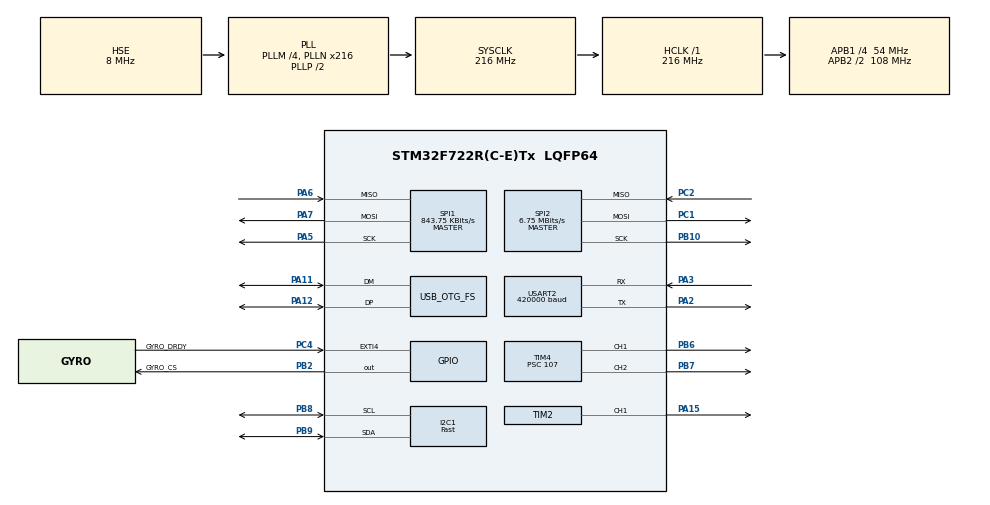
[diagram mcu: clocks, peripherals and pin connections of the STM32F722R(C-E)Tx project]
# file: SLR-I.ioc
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CORTEX_M7.Enable_Spec=__NULL
CORTEX_M7.MPU_Control=__NULL
CORTEX_M7.default_mode_Activation=1
Dma.Request0=SPI1_RX
Dma.Request1=SPI1_TX
Dma.Request2=USART2_RX
Dma.SPI1_RX.0.Direction=DMA_PERIPH_TO_MEMORY
Dma.SPI1_RX.0.FIFOMode=DMA_FIFOMODE_DISABLE
Dma.SPI1_RX.0.Instance=DMA2_Stream0
Dma.SPI1_RX.0.MemDataAlignment=DMA_MDATAALIGN_BYTE
Dma.SPI1_RX.0.MemInc=DMA_MINC_ENABLE
Dma.SPI1_RX.0.Mode=DMA_NORMAL
Dma.SPI1_RX.0.PeriphDataAlignment=DMA_PDATAALIGN_BYTE
Dma.SPI1_RX.0.PeriphInc=DMA_PINC_DISABLE
Dma.SPI1_RX.0.Priority=DMA_PRIORITY_HIGH
Dma.SPI1_TX.1.Direction=DMA_MEMORY_TO_PERIPH
Dma.SPI1_TX.1.FIFOMode=DMA_FIFOMODE_DISABLE
Dma.SPI1_TX.1.Instance=DMA2_Stream3
Dma.SPI1_TX.1.MemDataAlignment=DMA_MDATAALIGN_BYTE
Dma.SPI1_TX.1.MemInc=DMA_MINC_ENABLE
Dma.SPI1_TX.1.Mode=DMA_NORMAL
Dma.SPI1_TX.1.PeriphDataAlignment=DMA_PDATAALIGN_BYTE
Dma.SPI1_TX.1.PeriphInc=DMA_PINC_DISABLE
Dma.SPI1_TX.1.Priority=DMA_PRIORITY_HIGH
Dma.USART2_RX.2.Direction=DMA_PERIPH_TO_MEMORY
Dma.USART2_RX.2.FIFOMode=DMA_FIFOMODE_DISABLE
Dma.USART2_RX.2.Instance=DMA1_Stream5
Dma.USART2_RX.2.MemDataAlignment=DMA_MDATAALIGN_BYTE
Dma.USART2_RX.2.MemInc=DMA_MINC_ENABLE
Dma.USART2_RX.2.Mode=DMA_CIRCULAR
Dma.USART2_RX.2.PeriphDataAlignment=DMA_PDATAALIGN_BYTE
Dma.USART2_RX.2.PeriphInc=DMA_PINC_DISABLE
Dma.USART2_RX.2.Priority=DMA_PRIORITY_MEDIUM
I2C1.I2C_Speed_Mode=I2C_Fast
I2C1.Timing=0x6000030D
Mcu.Family=STM32F7
Mcu.Name=STM32F722R(C-E)Tx
Mcu.Package=LQFP64
NVIC.DMA1_Stream5_IRQn=true\:4\:0\:true\:false\:true\:false\:true\:true
NVIC.DMA2_Stream0_IRQn=true\:1\:0\:true\:false\:true\:false\:true\:true
NVIC.DMA2_Stream3_IRQn=true\:3\:0\:true\:false\:true\:false\:true\:true
NVIC.EXTI4_IRQn=true\:2\:0\:true\:false\:true\:true\:true\:true
NVIC.OTG_FS_IRQn=true\:6\:0\:true\:false\:true\:false\:true\:true
NVIC.PriorityGroup=NVIC_PRIORITYGROUP_4
NVIC.SPI1_IRQn=true\:3\:0\:true\:false\:true\:true\:true\:true
NVIC.TIM6_DAC_IRQn=true\:2\:0\:true\:false\:true\:true\:true\:true
NVIC.USART2_IRQn=true\:5\:0\:true\:false\:true\:true\:true\:true
PA11.Mode=Device_Only
PA11.Signal=USB_OTG_FS_DM
PA12.Mode=Device_Only
PA12.Signal=USB_OTG_FS_DP
PA13.Mode=Serial_Wire
PA13.Signal=SYS_JTMS-SWDIO
PA14.Mode=Serial_Wire
PA14.Signal=SYS_JTCK-SWCLK
PA15.GPIO_Speed=GPIO_SPEED_FREQ_VERY_HIGH
PA15.Signal=S_TIM2_CH1_ETR
PA2.Mode=Asynchronous
PA2.Signal=USART2_TX
PA3.Mode=Asynchronous
PA3.Signal=USART2_RX
PA5.Mode=Full_Duplex_Master
PA5.Signal=SPI1_SCK
PA6.Mode=Full_Duplex_Master
PA6.Signal=SPI1_MISO
PA7.Mode=Full_Duplex_Master
PA7.Signal=SPI1_MOSI
PB10.Mode=Full_Duplex_Master
PB10.Signal=SPI2_SCK
PB2.GPIO_Label=GYRO_CS
PB2.GPIO_Speed=GPIO_SPEED_FREQ_VERY_HIGH
PB2.PinState=GPIO_PIN_SET
PB2.Signal=GPIO_Output
PB6.GPIO_Speed=GPIO_SPEED_FREQ_HIGH
PB6.Signal=S_TIM4_CH1
PB7.GPIO_Speed=GPIO_SPEED_FREQ_HIGH
PB7.Signal=S_TIM4_CH2
PB8.Mode=I2C
PB8.Signal=I2C1_SCL
PB9.Mode=I2C
PB9.Signal=I2C1_SDA
PC1.Mode=Full_Duplex_Master
PC1.Signal=SPI2_MOSI
PC2.Mode=Full_Duplex_Master
PC2.Signal=SPI2_MISO
PC4.GPIO_Label=GYRO_DRDY
PC4.GPIO_ModeDefaultEXTI=GPIO_MODE_IT_FALLING
PC4.GPIO_PuPd=GPIO_PULLUP
PC4.Signal=GPXTI4
PH0-OSC_IN.Mode=HSE-External-Oscillator
PH0-OSC_IN.Signal=RCC_OSC_IN
PH1-OSC_OUT.Mode=HSE-External-Oscillator
PH1-OSC_OUT.Signal=RCC_OSC_OUT
ProjectManager.HeapSize=0x200
ProjectManager.StackSize=0x800
ProjectManager.TargetToolchain=STM32CubeIDE
RCC.AHBFreq_Value=216000000
RCC.APB1CLKDivider=RCC_HCLK_DIV4
RCC.APB1Freq_Value=54000000
RCC.APB1TimFreq_Value=108000000
RCC.APB2CLKDivider=RCC_HCLK_DIV2
RCC.APB2Freq_Value=108000000
RCC.APB2TimFreq_Value=216000000
RCC.CortexFreq_Value=216000000
RCC.HCLKFreq_Value=216000000
RCC.HSE_VALUE=8000000
RCC.HSI_VALUE=16000000
RCC.LSE_VALUE=32768
RCC.PLLM=4
RCC.PLLN=216
RCC.PLLQ=9
RCC.SYSCLKFreq_VALUE=216000000
RCC.SYSCLKSource=RCC_SYSCLKSOURCE_PLLCLK
RCC.USBFreq_Value=48000000
RCC.VCOOutputFreq_Value=432000000
SH.S_TIM2_CH1_ETR.0=TIM2_CH1,PWM Generation1 CH1
SH.S_TIM4_CH1.0=TIM4_CH1,PWM Generation1 CH1
SH.S_TIM4_CH2.0=TIM4_CH2,PWM Generation2 CH2
SPI1.BaudRatePrescaler=SPI_BAUDRATEPRESCALER_128
SPI1.CLKPhase=SPI_PHASE_1EDGE
SPI1.CLKPolarity=SPI_POLARITY_LOW
SPI1.CalculateBaudRate=843.75 KBits/s
SPI1.DataSize=SPI_DATASIZE_8BIT
SPI1.Direction=SPI_DIRECTION_2LINES
SPI1.Mode=SPI_MODE_MASTER
SPI1.VirtualType=VM_MASTER
SPI2.BaudRatePrescaler=SPI_BAUDRATEPRESCALER_8
SPI2.CalculateBaudRate=6.75 MBits/s
SPI2.DataSize=SPI_DATASIZE_8BIT
SPI2.Direction=SPI_DIRECTION_2LINES
SPI2.Mode=SPI_MODE_MASTER
SPI2.VirtualType=VM_MASTER
TIM2.AutoReloadPreload=TIM_AUTORELOAD_PRELOAD_ENABLE
TIM2.Channel-PWM\ Generation1\ CH1=TIM_CHANNEL_1
TIM2.Period=2499
TIM2.Prescaler=107
TIM4.AutoReloadPreload=TIM_AUTORELOAD_PRELOAD_ENABLE
TIM4.Channel-PWM\ Generation1\ CH1=TIM_CHANNEL_1
TIM4.Channel-PWM\ Generation2\ CH2=TIM_CHANNEL_2
TIM4.Period=19999
TIM4.Prescaler=107
TIM4.Pulse-PWM\ Generation1\ CH1=1500
TIM4.Pulse-PWM\ Generation2\ CH2=1500
TIM6.AutoReloadPreload=TIM_AUTORELOAD_PRELOAD_ENABLE
TIM6.Period=999
TIM6.Prescaler=107
USART2.BaudRate=420000
USART2.Mode=MODE_RX
USART2.StopBits=STOPBITS_1
USART2.VirtualMode-Asynchronous=VM_ASYNC
USB_DEVICE.CLASS_NAME_FS=CDC
USB_DEVICE.VirtualMode-CDC_FS=Cdc
USB_DEVICE.VirtualModeFS=Cdc_FS
USB_OTG_FS.VirtualMode=Device_Only
VP_TIM2_VS_ClockSourceINT.Mode=Internal
VP_TIM4_VS_ClockSourceINT.Mode=Internal
VP_TIM6_VS_ClockSourceINT.Mode=Enable_Timer
VP_USB_DEVICE_VS_USB_DEVICE_CDC_FS.Mode=CDC_FS
board=custom

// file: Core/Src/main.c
/* USER CODE BEGIN Header */
/**
  ******************************************************************************
  * @file           : main.c
  * @brief          : Main program body
  ******************************************************************************
  * @attention
  *
  * Copyright (c) 2026 STMicroelectronics.
  * All rights reserved.
  *
  * This software is licensed under terms that can be found in the LICENSE file
  * in the root directory of this software component.
  * If no LICENSE file comes with this software, it is provided AS-IS.
  *
  ******************************************************************************
  */
/* USER CODE END Header */
#include "main.h"
#include "dma.h"
#include "i2c.h"
#include "spi.h"
#include "tim.h"
#include "usart.h"
#include "usb_device.h"
#include "gpio.h"

/* USER CODE BEGIN Includes */
#include "usbd_cdc_if.h"
#include <math.h>
/* USER CODE END Includes */

/* USER CODE BEGIN PD */
#define GYRO_SPI_READ  0x80  // 1000 0000 (Sets MSB to 1)
#define GYRO_SPI_WRITE 0x7F  // 0111 1111 (Clears MSB to 0)
#define CRSF_BUF_SIZE 64
/* USER CODE END PD */

/* USER CODE BEGIN PV */
volatile uint8_t gyro_data_ready = 0;
volatile uint32_t now_cycles = 0;
uint32_t last_cycles = 0;

uint8_t crsf_rx_buf[CRSF_BUF_SIZE];
uint16_t crsf_channels[16];
volatile uint8_t crsf_frame_ready = 0;
/* USER CODE END PV */

void SystemClock_Config(void);

int main(void)
{

  /* USER CODE BEGIN 1 */
	  uint8_t tx_address;
	  uint8_t rx_response;
  /* USER CODE END 1 */

  /* MCU Configuration--------------------------------------------------------*/

  /* Reset of all peripherals, Initializes the Flash interface and the Systick. */
  HAL_Init();

  /* Configure the system clock */
  SystemClock_Config();

  /* Initialize all configured peripherals */
  MX_GPIO_Init();
  MX_DMA_Init();
  MX_I2C1_Init();
  MX_SPI1_Init();
  MX_SPI2_Init();
  MX_USART2_UART_Init();
  MX_TIM2_Init();
  MX_TIM4_Init();
  MX_TIM6_Init();
  MX_USB_DEVICE_Init();
  /* USER CODE BEGIN 2 */
  HAL_Delay(3000);
  CoreDebug->DEMCR |= CoreDebug_DEMCR_TRCENA_Msk;
  DWT->CYCCNT = 0;
  DWT->CTRL |= DWT_CTRL_CYCCNTENA_Msk;

  //receiver USART2 - start circular DMA + idle-line detection
  HAL_UARTEx_ReceiveToIdle_DMA(&huart2, crsf_rx_buf, CRSF_BUF_SIZE);
  __HAL_DMA_DISABLE_IT(&hdma_usart2_rx, DMA_IT_HT); //suppress half-transfer callback, we only care about idle events

  HAL_GPIO_WritePin(GYRO_CS_GPIO_Port, GYRO_CS_Pin, GPIO_PIN_SET);
  HAL_Delay(50);

  tx_address = 0x75 | GYRO_SPI_READ;

  HAL_GPIO_WritePin(GYRO_CS_GPIO_Port, GYRO_CS_Pin, GPIO_PIN_RESET);
  HAL_Delay(5); // Hold it low for a tiny moment before clocks start

  HAL_SPI_Transmit(&hspi1, &tx_address, 1, HAL_MAX_DELAY);

  HAL_SPI_Receive(&hspi1, &rx_response, 1, HAL_MAX_DELAY);

  HAL_GPIO_WritePin(GYRO_CS_GPIO_Port, GYRO_CS_Pin, GPIO_PIN_SET);
  HAL_Delay(5);

  HAL_Delay(2000);
  static char diagnostic_buf[256];
    int msg_len = snprintf(diagnostic_buf, sizeof(diagnostic_buf),
                           "\r\n========================================\r\n"
                           "Radiolink F722 IMU Diagnostic Verification\r\n"
                           "Target ID Expected: 0x47\r\n"
                           "Sensor ID Received: 0x%02X\r\n"
                           "STATUS: %s\r\n"
                           "========================================\r\n\r\n",
                           rx_response,
                           (rx_response == 0x47) ? "SUCCESS! SPI communication is valid." : "ERROR! Communication fault.");

    CDC_Transmit_FS((uint8_t*)diagnostic_buf, msg_len);
    HAL_Delay(100);

  uint8_t init_buf[2];
  init_buf[0] = 0x4E & GYRO_SPI_WRITE;
  init_buf[1] = 0x0F;

  HAL_GPIO_WritePin(GYRO_CS_GPIO_Port, GYRO_CS_Pin, GPIO_PIN_RESET);

  for(volatile int i = 0; i < 50; i++);

  HAL_SPI_Transmit(&hspi1, init_buf, 2, HAL_MAX_DELAY);
  HAL_GPIO_WritePin(GYRO_CS_GPIO_Port, GYRO_CS_Pin, GPIO_PIN_SET);
  HAL_Delay(50);

  // INT_CONFIG register (0x14) - Sets up INT1 pin formatting
	// 0x03 sets INT1 to push-pull, active low (matching your EXTI falling edge)
	init_buf[0] = 0x14 & GYRO_SPI_WRITE;
	init_buf[1] = 0x03;

	HAL_GPIO_WritePin(GYRO_CS_GPIO_Port, GYRO_CS_Pin, GPIO_PIN_RESET);
	for(volatile int i = 0; i < 50; i++);
	HAL_SPI_Transmit(&hspi1, init_buf, 2, HAL_MAX_DELAY);
	HAL_GPIO_WritePin(GYRO_CS_GPIO_Port, GYRO_CS_Pin, GPIO_PIN_SET);
	HAL_Delay(50);

	// INT_SOURCE0 register (0x65) - Routes data ready to INT1 pin
	// 0x08 enables UI data ready interrupt routing
	init_buf[0] = 0x65 & GYRO_SPI_WRITE;
	init_buf[1] = 0x08;

	HAL_GPIO_WritePin(GYRO_CS_GPIO_Port, GYRO_CS_Pin, GPIO_PIN_RESET);
	for(volatile int i = 0; i < 50; i++);
	HAL_SPI_Transmit(&hspi1, init_buf, 2, HAL_MAX_DELAY);

  HAL_GPIO_WritePin(GYRO_CS_GPIO_Port, GYRO_CS_Pin, GPIO_PIN_SET);
  HAL_Delay(50);
  /* USER CODE END 2 */

  /* Infinite loop */
  /* USER CODE BEGIN WHILE */
  float g_roll = 0;
  float g_pitch = 0;
  float g_yaw = 0;

  float a_roll = 0;
  float a_pitch = 0;

  float roll_estimate = 0;
  float pitch_estimate = 0;

  float uncertainty = 0;
  float gyro_drift_rate = 0.01f;
  float accel_noise_level = 0.05f;

  while (1)
  {

    /* USER CODE END WHILE */

    /* USER CODE BEGIN 3 */
  if(gyro_data_ready){
	  gyro_data_ready = 0;

	  //finding the change in time between gyro measurements
	  uint32_t dt_cycles = now_cycles - last_cycles;
	  last_cycles = now_cycles;
	  float dt_s = dt_cycles/216000000.0f;

	  // Create an 8-byte buffer to accommodate the address + 6 data bytes safely
	  uint8_t spi_tx_buf[15] = {0};
	  uint8_t spi_rx_buf[15] = {0};

	  // Set the first byte to the target register address with the read bit flag
	  spi_tx_buf[0] = 0x1D | GYRO_SPI_READ;

	  // Toggle CS Low to select the IMU
	  HAL_GPIO_WritePin(GYRO_CS_GPIO_Port, GYRO_CS_Pin, GPIO_PIN_RESET);
	  for(volatile int i = 0; i < 50; i++); // Safe electrical settling delay

	  // Transmit and receive simultaneously over the 7-byte window
	  HAL_SPI_TransmitReceive(&hspi1, spi_tx_buf, spi_rx_buf, 15, HAL_MAX_DELAY);

	  // Deselect IMU immediately
	  HAL_GPIO_WritePin(GYRO_CS_GPIO_Port, GYRO_CS_Pin, GPIO_PIN_SET);

	  /* * Note: spi_rx_buf[0] contains dummy data returned while we transmitted the address.
	   * The actual gyro data lives in elements [1] through [6].
	   */

	  int16_t temp_raw = (int16_t)((spi_rx_buf[1] << 8) | spi_rx_buf[2]);

	  int16_t ax_raw = (int16_t)((spi_rx_buf[3] << 8) | spi_rx_buf[4]);
	  int16_t ay_raw = (int16_t)((spi_rx_buf[5] << 8) | spi_rx_buf[6]);
	  int16_t az_raw = (int16_t)((spi_rx_buf[7] << 8) | spi_rx_buf[8]);

	  int16_t gx_raw = (int16_t)((spi_rx_buf[9] << 8) | spi_rx_buf[10]);
	  int16_t gy_raw = (int16_t)((spi_rx_buf[11] << 8) | spi_rx_buf[12]);
	  int16_t gz_raw = (int16_t)((spi_rx_buf[13] << 8) | spi_rx_buf[14]);

	  // ICM-42688-P default sensitivity scale factor is 16.4 LSB/dps
	  float gx_dps = gx_raw / 16.4f;
	  float gy_dps = gy_raw / 16.4f;
	  float gz_dps = gz_raw / 16.4f;

	  g_roll += gx_dps * dt_s;
	  g_pitch += gy_dps * dt_s;
	  g_yaw += gz_dps * dt_s;

	  float ax_g = ax_raw / 2048.0f;
	  float ay_g = ay_raw / 2048.0f;
	  float az_g = az_raw / 2048.0f;

	  roll_estimate += gx_dps * dt_s;
	  pitch_estimate += gy_dps * dt_s;

	  uncertainty += gyro_drift_rate * dt_s;

	  a_roll = atan2f(ay_g, az_g) * (180.0f/M_PI);
	  a_pitch = atan2f(ax_g, az_g) * (180.0f/M_PI);

	  float a_weight = uncertainty/(uncertainty + accel_noise_level);

	  roll_estimate += a_weight * (a_roll - roll_estimate);
	  pitch_estimate += a_weight * (a_pitch - pitch_estimate);

	  uncertainty *= (1.0f - a_weight);

	  static char buf[128];
	  int n = snprintf(buf, sizeof(buf), "Roll: %.4f | Pitch: %.4f\r\n", roll_estimate, pitch_estimate);
	  CDC_Transmit_FS((uint8_t*)buf, n);
  	  }
  	  //HAL_Delay(1000);
//	  static char test_msg[] = "USB is alive with peripherals active!\r\n";
//	  CDC_Transmit_FS((uint8_t*)test_msg, sizeof(test_msg) - 1);

  	  if (crsf_frame_ready) {
  		  crsf_frame_ready = 0;
  		  static char crsf_buf[64];
  		  int n = snprintf(crsf_buf, sizeof(crsf_buf), "T:%u R:%u P:%u Y:%u\r\n",
  				  crsf_channels[2], crsf_channels[0], crsf_channels[1], crsf_channels[3]);
  		  CDC_Transmit_FS((uint8_t*)crsf_buf, n);
  	  }
  }
  /* USER CODE END 3 */
}

void SystemClock_Config(void)
{
  RCC_OscInitTypeDef RCC_OscInitStruct = {0};
  RCC_ClkInitTypeDef RCC_ClkInitStruct = {0};

  /** Configure the main internal regulator output voltage
  */
  __HAL_RCC_PWR_CLK_ENABLE();
  __HAL_PWR_VOLTAGESCALING_CONFIG(PWR_REGULATOR_VOLTAGE_SCALE1);

  /** Initializes the RCC Oscillators according to the specified parameters
  * in the RCC_OscInitTypeDef structure.
  */
  RCC_OscInitStruct.OscillatorType = RCC_OSCILLATORTYPE_HSE;
  RCC_OscInitStruct.HSEState = RCC_HSE_ON;
  RCC_OscInitStruct.PLL.PLLState = RCC_PLL_ON;
  RCC_OscInitStruct.PLL.PLLSource = RCC_PLLSOURCE_HSE;
  RCC_OscInitStruct.PLL.PLLM = 4;
  RCC_OscInitStruct.PLL.PLLN = 216;
  RCC_OscInitStruct.PLL.PLLP = RCC_PLLP_DIV2;
  RCC_OscInitStruct.PLL.PLLQ = 9;
  if (HAL_RCC_OscConfig(&RCC_OscInitStruct) != HAL_OK)
  {
    Error_Handler();
  }

  /** Activate the Over-Drive mode
  */
  if (HAL_PWREx_EnableOverDrive() != HAL_OK)
  {
    Error_Handler();
  }

  /** Initializes the CPU, AHB and APB buses clocks
  */
  RCC_ClkInitStruct.ClockType = RCC_CLOCKTYPE_HCLK|RCC_CLOCKTYPE_SYSCLK
                              |RCC_CLOCKTYPE_PCLK1|RCC_CLOCKTYPE_PCLK2;
  RCC_ClkInitStruct.SYSCLKSource = RCC_SYSCLKSOURCE_PLLCLK;
  RCC_ClkInitStruct.AHBCLKDivider = RCC_SYSCLK_DIV1;
  RCC_ClkInitStruct.APB1CLKDivider = RCC_HCLK_DIV4;
  RCC_ClkInitStruct.APB2CLKDivider = RCC_HCLK_DIV2;

  if (HAL_RCC_ClockConfig(&RCC_ClkInitStruct, FLASH_LATENCY_7) != HAL_OK)
  {
    Error_Handler();
  }
}

/* USER CODE BEGIN 4 */
void HAL_GPIO_EXTI_Callback(uint16_t GPIO_Pin)
{
    if (GPIO_Pin == GYRO_DRDY_Pin) // Safe check against your custom label
    {
    	now_cycles = DWT->CYCCNT;
        gyro_data_ready = 1;
    }
}

static uint8_t crsf_crc8(const uint8_t *data, uint8_t len) {
	uint8_t crc = 0;
	for (uint8_t i = 0; i < len; i++) {
		crc ^= data[i];
		for (uint8_t b = 0; b < 8; b++) {
			crc = (crc & 0x80) ? (crc << 1) ^0xD5 : (crc << 1);
		}
 	}
	return crc;
}

static void crsf_parse_frame(uint8_t *buf) {
	uint8_t len = buf[1];
	uint8_t type = buf[2];

	if (type!= 0x16) return; //only care about RC Channels for now
	if (len < 24) return;    //sanity: type(1) + payload(22) + crc(1) = 24

	uint8_t crc_calc = crsf_crc8(&buf[2], len - 1);
	uint8_t crc_recv = buf[2 + len - 1];
	if (crc_calc != crc_recv) return; //corrupted frame, drop it silently

	uint8_t *p = &buf[3];
	uint32_t bitbuf = 0;
	uint8_t bitcount = 0;
	uint8_t byte_idx = 0;

	for (int ch = 0; ch < 16; ch++) {
		while (bitcount < 11) {
			bitbuf |= ((uint32_t)p[byte_idx++]) << bitcount;
			bitcount += 8;
		}
		crsf_channels[ch] = bitbuf & 0x7FF;
		bitbuf >>= 11;
		bitcount -= 11;
	}

	crsf_frame_ready = 1;
}

void HAL_UARTEx_RxEventCallback(UART_HandleTypeDef *huart, uint16_t Size) {
	if (huart->Instance == USART2) {
		if (Size >= 4 && crsf_rx_buf[0] == 0xC8) {
			crsf_parse_frame(crsf_rx_buf);
		}
		HAL_UARTEx_ReceiveToIdle_DMA(&huart2, crsf_rx_buf, CRSF_BUF_SIZE);
		__HAL_DMA_DISABLE_IT(&hdma_usart2_rx, DMA_IT_HT);
	}
}
/* USER CODE END 4 */

void Error_Handler(void)
{
  __disable_irq();
  while (1)
  {
  }
}
